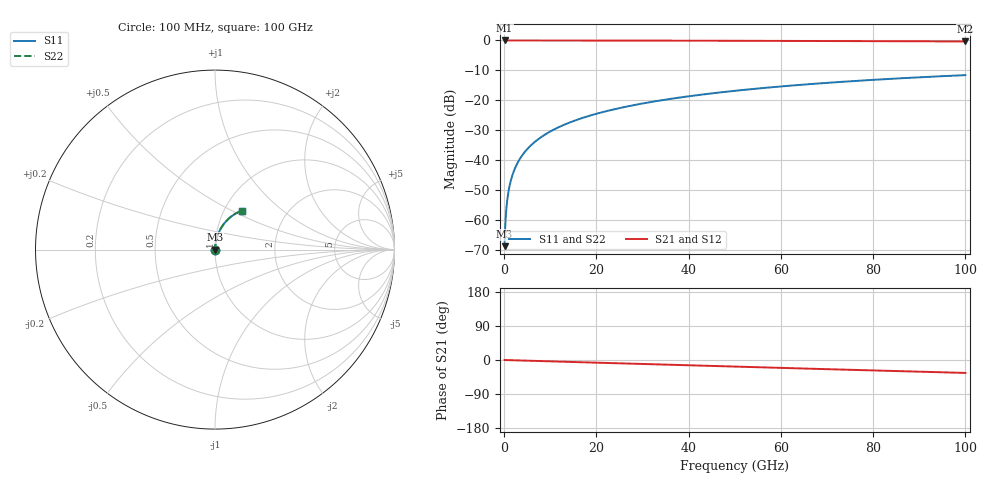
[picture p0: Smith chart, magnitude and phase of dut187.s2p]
! Touchstone file exported from HFSS 2026.1.0
!  File:  C:/ffzhzh/LocalFiles/Ansys_Project_Files/temp_train_TSV_187_1783507214_41296.aedt
!  Generated:  06:41:31 PM Jul  8, 2026
!  Design:  TSV
!  Project:  temp_train_TSV_187_1783507214_41296
! Variables:
!  h_bsmrdl = 2um
!  h_ox = 20um
!  h_rdl = 5um
!  h_sub = 52.78um
!  h_tmrdl = 5um
!  h_tsv = 52.78um
!  h_via = 3um
!  l_bsmrdl = 300um
!  l_sub = 414.12um
!  l_tmrdl = 200um
!  m_sub = 200um
!  pitch = 57.17um
!  r_tsv = 7.06um
!  s_tmrdl = 10um
!  w_bsmrdl = 18um
!  w_sub = 500um
!  w_tmrdl = 12um
!  x_tsv_center1 = 206um
!  x_tsv_center2 = 524um
!  x_tsv_center3 = 736um
!  x_tsv_center4 = 1054um
!  x_tsv_center5 = 1266um
!  x_tsv_center6 = 1584um
# GHz S MA R 50.000000
! Terminal data exported
! Port[1] = TSV1_1_T1
! Port[2] = TSV1_1_T2
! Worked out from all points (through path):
!   1000 points, 100 MHz to 100 GHz, reference 50 ohm
!   highest |S21| = 0.00 dB at 100 MHz (marker M1); lowest = -0.3 dB at 100 GHz (marker M2)
!   group delay of S21, straight-line fit = 949 fs
!   lowest |S11| = -68.8 dB at 100 MHz (marker M3), VSWR 1.00, Z = 50 + j0.033 ohm
!   |S11| at or under -10 dB: start of sweep to end of sweep
!   |S22| runs from -68.8 to -11.6 dB; largest |S21 - S12| = 5.1e-15
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0.1  0.0003648 64.7  0.9998 -0.0  0.9998 -0.0  0.0003648 64.7
! Gamma 0 0 0 0
! Port Impedance 50 0 50 0
0.3  0.0009871 79.5  0.9998 -0.1  0.9998 -0.1  0.0009871 79.5
0.7  0.002233 84.2  0.9998 -0.3  0.9998 -0.3  0.002233 84.2
0.8  0.002544 84.7  0.9998 -0.3  0.9998 -0.3  0.002544 84.7
1  0.003165 85.3  0.9998 -0.4  0.9998 -0.4  0.003165 85.3
1.3  0.004094 85.8  0.9997 -0.5  0.9997 -0.5  0.004094 85.8
1.7  0.005324 86.1  0.9997 -0.6  0.9997 -0.6  0.005324 86.1
2.3  0.007152 86.2  0.9996 -0.8  0.9996 -0.8  0.007152 86.2
2.9  0.008965 86.3  0.9995 -1.0  0.9995 -1.0  0.008965 86.3
3.7  0.01137 86.2  0.9995 -1.3  0.9995 -1.3  0.01137 86.2
4.7  0.01436 86.1  0.9993 -1.7  0.9993 -1.7  0.01436 86.1
5.8  0.01764 86.0  0.9992 -2.1  0.9992 -2.1  0.01764 86.0
8.7  0.02627 85.3  0.9989 -3.1  0.9989 -3.1  0.02627 85.3
12.3  0.03692 84.3  0.9984 -4.3  0.9984 -4.3  0.03692 84.3
16.8  0.05016 82.9  0.9977 -5.9  0.9977 -5.9  0.05016 82.9
24.2  0.07172 80.5  0.9962 -8.5  0.9962 -8.5  0.07172 80.5
33.4  0.09808 77.4  0.9937 -11.7  0.9937 -11.7  0.09808 77.5
41.2  0.12 74.8  0.9912 -14.4  0.9912 -14.4  0.12 74.8
50.1  0.1443 71.8  0.9878 -17.5  0.9878 -17.5  0.1443 71.9
66.7  0.1874 66.3  0.9803 -23.1  0.9803 -23.1  0.1874 66.3
83.4  0.2274 60.8  0.9716 -28.7  0.9716 -28.7  0.2274 60.8
100  0.2632 55.4  0.9623 -34.1  0.9623 -34.1  0.2632 55.4
